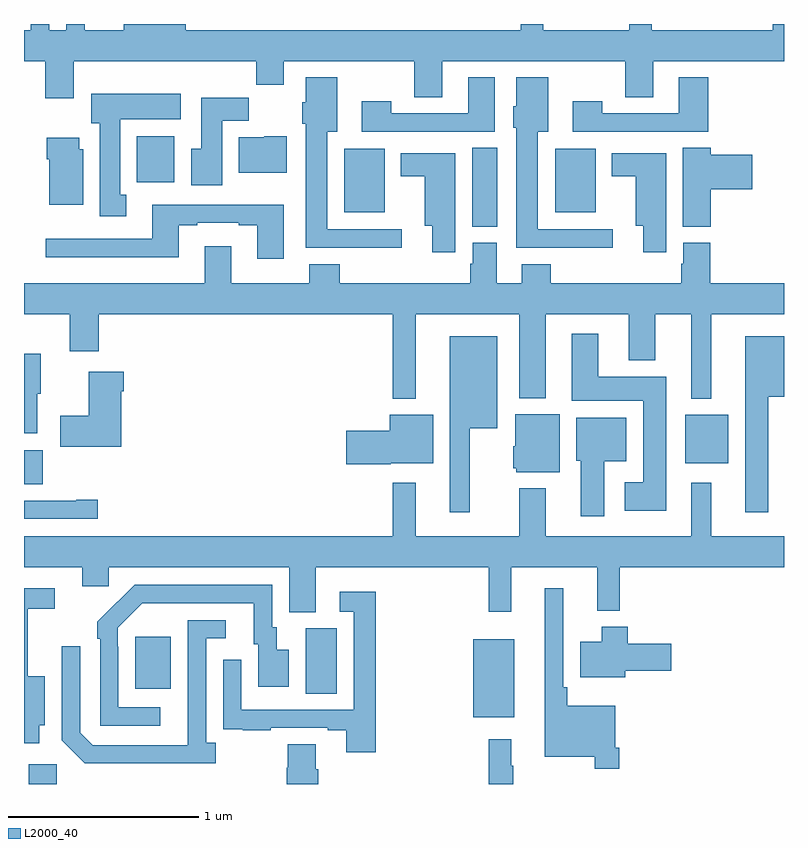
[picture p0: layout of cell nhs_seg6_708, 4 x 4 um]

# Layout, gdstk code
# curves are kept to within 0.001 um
import gdstk
lib = gdstk.Library(unit=1e-6, precision=1e-09)
def R(c, l, rs):  # rectangles x0, y0, x1, y1
    for r in rs: c.add(gdstk.rectangle(r[:2], r[2:], *l))
def P(c, l, *ps):  # polygons
    for p in ps: c.add(gdstk.Polygon(p, *l))
L2000_40 = (2000, 40)

nhs_seg6_708 = lib.new_cell('nhs_seg6_708')
R(nhs_seg6_708, L2000_40, [(155.026,975.5,155.172,975.604), (157.364,975.851,157.579,976.261), (156.482,975.976,156.646,976.32), (155.585,976.001,155.773,976.276), (155,977.077,155.099,977.256), (158.48,977.189,158.707,977.443), (157.358,978.433,157.492,978.848), (156.686,978.509,156.898,978.844), (157.796,978.509,158.008,978.844), (155.594,978.668,155.791,978.91)])
P(nhs_seg6_708, L2000_40, [(155.263,979.304),(156.223,979.304),(156.223,979.18),(156.367,979.18),(156.367,979.304),(157.054,979.304),(157.054,979.114),(157.201,979.114),(157.201,979.304),(158.164,979.304),(158.164,979.114),(158.311,979.114),(158.311,979.304),(159,979.304),(159,979.5),(158.942,979.5),(158.942,979.468),(158.303,979.468),(158.303,979.5),(158.186,979.5),(158.186,979.468),(157.733,979.468),(157.733,979.5),(157.615,979.5),(157.615,979.468),(155.851,979.468),(155.851,979.5),(155.525,979.5),(155.525,979.468),(155.321,979.468),(155.321,979.5),(155.223,979.5),(155.223,979.468),(155.133,979.468),(155.133,979.5),(155.036,979.5),(155.036,979.468),(155,979.468),(155,979.304),(155.111,979.304),(155.111,979.11),(155.263,979.11)],
  [(156.988,978.42),(156.595,978.42),(156.595,978.932),(156.649,978.932),(156.649,979.219),(156.482,979.219),(156.482,979.089),(156.464,979.089),(156.464,978.975),(156.482,978.975),(156.482,978.323),(156.988,978.323)],
  [(158.098,978.42),(157.705,978.42),(157.705,978.932),(157.759,978.932),(157.759,979.219),(157.592,979.219),(157.592,979.068),(157.574,979.068),(157.574,978.954),(157.592,978.954),(157.592,978.323),(158.098,978.323)],
  [(158.6,979.219),(158.447,979.219),(158.447,979.029),(158.043,979.029),(158.043,979.093),(157.887,979.093),(157.887,978.933),(158.6,978.933)],
  [(157.477,979.219),(157.337,979.219),(157.337,979.029),(156.933,979.029),(156.933,979.093),(156.777,979.093),(156.777,978.933),(157.477,978.933)],
  [(155.539,978.602),(155.506,978.602),(155.506,978.998),(155.824,978.998),(155.824,979.132),(155.354,979.132),(155.354,978.978),(155.399,978.978),(155.399,978.489),(155.539,978.489)],
  [(156.043,978.992),(156.182,978.992),(156.182,979.111),(155.933,979.111),(155.933,978.844),(155.879,978.844),(155.879,978.651),(156.043,978.651)],
  [(156.382,978.91),(156.264,978.91),(156.264,978.904),(156.131,978.904),(156.131,978.716),(156.382,978.716)],
  [(155.311,978.84),(155.29,978.84),(155.29,978.901),(155.12,978.901),(155.12,978.788),(155.132,978.788),(155.132,978.548),(155.311,978.548)],
  [(158.615,978.629),(158.833,978.629),(158.833,978.812),(158.615,978.812),(158.615,978.848),(158.468,978.848),(158.468,978.433),(158.615,978.433)],
  [(157.27,978.82),(156.983,978.82),(156.983,978.698),(157.109,978.698),(157.109,978.437),(157.148,978.437),(157.148,978.3),(157.27,978.3)],
  [(158.38,978.82),(158.093,978.82),(158.093,978.698),(158.219,978.698),(158.219,978.437),(158.258,978.437),(158.258,978.3),(158.38,978.3)],
  [(156.367,978.55),(156.135,978.55),(156.135,978.549),(155.675,978.549),(155.675,978.369),(155.115,978.369),(155.115,978.272),(155.815,978.272),(155.815,978.441),(155.911,978.441),(155.911,978.453),(156.131,978.453),(156.131,978.441),(156.227,978.441),(156.227,978.264),(156.367,978.264)],
  [(157.063,977.972),(157.607,977.972),(157.607,977.531),(157.747,977.531),(157.747,977.972),(158.183,977.972),(158.183,977.729),(158.323,977.729),(158.323,977.972),(158.513,977.972),(158.513,977.528),(158.617,977.528),(158.617,977.972),(159,977.972),(159,978.136),(158.612,978.136),(158.612,978.348),(158.471,978.348),(158.471,978.237),(158.459,978.237),(158.459,978.136),(157.772,978.136),(157.772,978.235),(157.619,978.235),(157.619,978.136),(157.489,978.136),(157.489,978.348),(157.361,978.348),(157.361,978.237),(157.349,978.237),(157.349,978.136),(156.662,978.136),(156.662,978.235),(156.502,978.235),(156.502,978.136),(156.091,978.136),(156.091,978.331),(155.951,978.331),(155.951,978.136),(155,978.136),(155,977.972),(155.24,977.972),(155.24,977.778),(155.393,977.778),(155.393,977.972),(156.942,977.972),(156.942,977.528),(157.063,977.528)],
  [(158.38,977.644),(158.023,977.644),(158.023,977.869),(157.883,977.869),(157.883,977.516),(158.258,977.516),(158.258,977.089),(158.163,977.089),(158.163,976.937),(158.38,976.937)],
  [(157.345,977.372),(157.492,977.372),(157.492,977.857),(157.241,977.857),(157.241,976.929),(157.345,976.929)],
  [(158.917,977.537),(159,977.537),(159,977.857),(158.795,977.857),(158.795,976.929),(158.917,976.929)],
  [(155.071,977.553),(155.089,977.553),(155.089,977.764),(155,977.764),(155,977.345),(155.071,977.345)],
  [(155.512,977.567),(155.525,977.567),(155.525,977.671),(155.342,977.671),(155.342,977.439),(155.19,977.439),(155.19,977.276),(155.512,977.276)],
  [(157.819,977.446),(157.586,977.446),(157.586,977.277),(157.574,977.277),(157.574,977.163),(157.59,977.163),(157.59,977.141),(157.819,977.141)],
  [(156.93,977.189),(157.153,977.189),(157.153,977.443),(156.926,977.443),(156.926,977.36),(156.696,977.36),(156.696,977.182),(156.93,977.182)],
  [(158.053,977.198),(158.17,977.198),(158.17,977.428),(157.907,977.428),(157.907,977.202),(157.931,977.202),(157.931,976.908),(158.053,976.908)],
  [(156.535,976.64),(157.447,976.64),(157.447,976.407),(157.565,976.407),(157.565,976.64),(158.018,976.64),(158.018,976.412),(158.135,976.412),(158.135,976.64),(159,976.64),(159,976.804),(158.617,976.804),(158.617,977.086),(158.513,977.086),(158.513,976.804),(157.747,976.804),(157.747,977.056),(157.607,977.056),(157.607,976.804),(157.063,976.804),(157.063,977.086),(156.942,977.086),(156.942,976.804),(155,976.804),(155,976.64),(155.306,976.64),(155.306,976.542),(155.445,976.542),(155.445,976.64),(156.395,976.64),(156.395,976.405),(156.535,976.405)],
  [(155.389,976.997),(155.276,976.997),(155.276,976.992),(155,976.992),(155,976.896),(155.389,976.896)],
  [(155.716,975.903),(155.496,975.903),(155.496,976.223),(155.493,976.223),(155.493,976.323),(155.622,976.452),(156.209,976.452),(156.209,976.236),(156.233,976.236),(156.233,976.011),(156.394,976.011),(156.394,976.207),(156.331,976.207),(156.331,976.326),(156.306,976.326),(156.306,976.548),(155.582,976.548),(155.385,976.353),(155.385,976.265),(155.4,976.265),(155.4,975.807),(155.716,975.807)],
  [(158.132,975.691),(158.112,975.691),(158.112,975.913),(157.859,975.913),(157.859,976.009),(157.839,976.009),(157.839,976.531),(157.742,976.531),(157.742,975.644),(158.004,975.644),(158.004,975.579),(158.132,975.579)],
  [(155.08,975.809),(155.11,975.809),(155.11,976.066),(155.021,976.066),(155.021,976.422),(155.161,976.422),(155.161,976.53),(155,976.53),(155,975.714),(155.08,975.714)],
  [(156.851,976.513),(156.663,976.513),(156.663,976.407),(156.735,976.407),(156.735,975.891),(156.144,975.891),(156.144,976.153),(156.048,976.153),(156.048,975.898),(156.049,975.898),(156.049,975.789),(156.151,975.789),(156.151,975.783),(156.299,975.783),(156.299,975.795),(156.599,975.795),(156.599,975.783),(156.695,975.783),(156.695,975.666),(156.851,975.666)],
  [(156.01,975.718),(155.958,975.718),(155.958,976.266),(156.061,976.266),(156.061,976.362),(155.862,976.362),(155.861,975.705),(155.361,975.705),(155.295,975.771),(155.295,976.225),(155.199,976.225),(155.199,975.729),(155.32,975.608),(156.01,975.608)],
  [(158.164,976.097),(158.407,976.097),(158.407,976.239),(158.177,976.239),(158.177,976.327),(158.042,976.327),(158.042,976.249),(157.928,976.249),(157.928,976.061),(158.164,976.061)],
  [(157.576,975.596),(157.564,975.596),(157.564,975.736),(157.447,975.736),(157.447,975.5),(157.576,975.5)],
  [(156.548,975.578),(156.535,975.578),(156.535,975.71),(156.388,975.71),(156.388,975.585),(156.383,975.585),(156.383,975.5),(156.548,975.5)])

lib.write_gds('nhs_seg6_708.gds')
